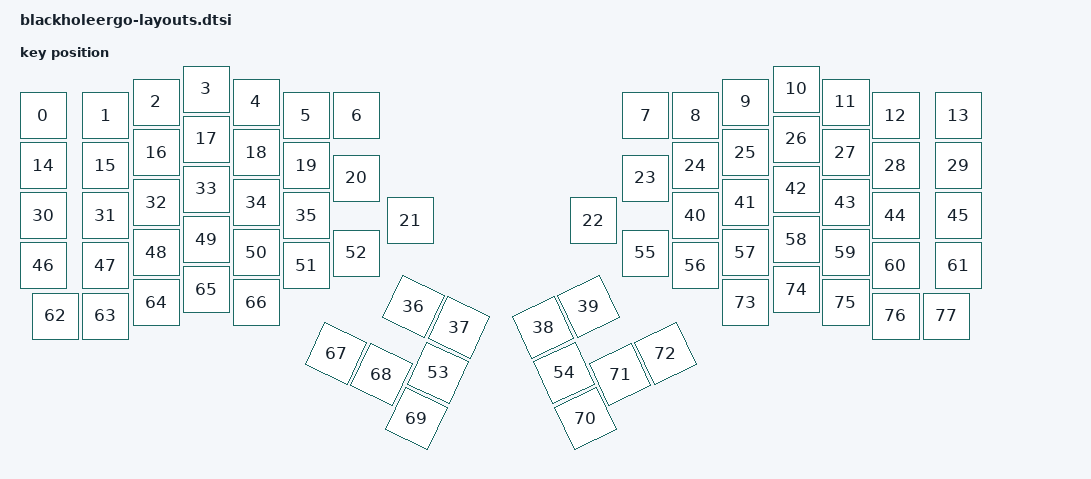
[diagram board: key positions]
// See https://zmk.dev/docs/development/hardware-integration/physical-layouts
// for how to configure this.

#include <physical_layouts.dtsi>

/ {
    default_layout: default_layout {
        compatible = "zmk,physical-layout";
        display-name = "Default Layout";
        kscan = <&kscan0>;
        transform = <&matrix_transform0>;

        keys  //                     w   h    x    y     rot    rx    ry
            = <&key_physical_attrs 100 100    0   53       0     0     0>
            , <&key_physical_attrs 100 100  125   53       0     0     0>
            , <&key_physical_attrs 100 100  226   26       0     0     0>
            , <&key_physical_attrs 100 100  326    0       0     0     0>
            , <&key_physical_attrs 100 100  426   26       0     0     0>
            , <&key_physical_attrs 100 100  526   53       0     0     0>
            , <&key_physical_attrs 100 100  627   53       0     0     0>
            , <&key_physical_attrs 100 100 1205   53       0     0     0>
            , <&key_physical_attrs 100 100 1305   53       0     0     0>
            , <&key_physical_attrs 100 100 1405   26       0     0     0>
            , <&key_physical_attrs 100 100 1506    0       0     0     0>
            , <&key_physical_attrs 100 100 1606   26       0     0     0>
            , <&key_physical_attrs 100 100 1706   53       0     0     0>
            , <&key_physical_attrs 100 100 1830   53       0     0     0>
            , <&key_physical_attrs 100 100    0  153       0     0     0>
            , <&key_physical_attrs 100 100  125  153       0     0     0>
            , <&key_physical_attrs 100 100  226  127       0     0     0>
            , <&key_physical_attrs 100 100  326  100       0     0     0>
            , <&key_physical_attrs 100 100  426  127       0     0     0>
            , <&key_physical_attrs 100 100  526  153       0     0     0>
            , <&key_physical_attrs 100 100  627  178       0     0     0>
            , <&key_physical_attrs 100 100  735  263       0     0     0>
            , <&key_physical_attrs 100 100 1100  263       0     0     0>
            , <&key_physical_attrs 100 100 1205  178       0     0     0>
            , <&key_physical_attrs 100 100 1305  153       0     0     0>
            , <&key_physical_attrs 100 100 1405  127       0     0     0>
            , <&key_physical_attrs 100 100 1506  100       0     0     0>
            , <&key_physical_attrs 100 100 1606  127       0     0     0>
            , <&key_physical_attrs 100 100 1706  153       0     0     0>
            , <&key_physical_attrs 100 100 1830  153       0     0     0>
            , <&key_physical_attrs 100 100    0  253       0     0     0>
            , <&key_physical_attrs 100 100  125  253       0     0     0>
            , <&key_physical_attrs 100 100  226  227       0     0     0>
            , <&key_physical_attrs 100 100  326  200       0     0     0>
            , <&key_physical_attrs 100 100  426  227       0     0     0>
            , <&key_physical_attrs 100 100  526  253       0     0     0>
            , <&key_physical_attrs 100 100  741  435    2500   791   485>
            , <&key_physical_attrs 100 100  832  477    2500   882   527>
            , <&key_physical_attrs 100 100 1000  477 (-2500)  1050   527>
            , <&key_physical_attrs 100 100 1091  435 (-2500)  1141   485>
            , <&key_physical_attrs 100 100 1305  253       0     0     0>
            , <&key_physical_attrs 100 100 1405  227       0     0     0>
            , <&key_physical_attrs 100 100 1506  200       0     0     0>
            , <&key_physical_attrs 100 100 1606  227       0     0     0>
            , <&key_physical_attrs 100 100 1706  253       0     0     0>
            , <&key_physical_attrs 100 100 1830  253       0     0     0>
            , <&key_physical_attrs 100 100    0  353       0     0     0>
            , <&key_physical_attrs 100 100  125  353       0     0     0>
            , <&key_physical_attrs 100 100  226  327       0     0     0>
            , <&key_physical_attrs 100 100  326  301       0     0     0>
            , <&key_physical_attrs 100 100  426  327       0     0     0>
            , <&key_physical_attrs 100 100  526  353       0     0     0>
            , <&key_physical_attrs 100 100  627  328       0     0     0>
            , <&key_physical_attrs 100 100  790  568    2500   840   618>
            , <&key_physical_attrs 100 100 1042  568 (-2500)  1092   618>
            , <&key_physical_attrs 100 100 1205  328       0     0     0>
            , <&key_physical_attrs 100 100 1305  353       0     0     0>
            , <&key_physical_attrs 100 100 1405  327       0     0     0>
            , <&key_physical_attrs 100 100 1506  301       0     0     0>
            , <&key_physical_attrs 100 100 1606  327       0     0     0>
            , <&key_physical_attrs 100 100 1706  353       0     0     0>
            , <&key_physical_attrs 100 100 1830  353       0     0     0>
            , <&key_physical_attrs 100 100   25  454       0     0     0>
            , <&key_physical_attrs 100 100  125  454       0     0     0>
            , <&key_physical_attrs 100 100  226  427       0     0     0>
            , <&key_physical_attrs 100 100  326  401       0     0     0>
            , <&key_physical_attrs 100 100  426  427       0     0     0>
            , <&key_physical_attrs 100 100  586  529    2500   636   579>
            , <&key_physical_attrs 100 100  677  571    2500   727   621>
            , <&key_physical_attrs 100 100  747  659    2500   797   709>
            , <&key_physical_attrs 100 100 1085  659 (-2500)  1135   709>
            , <&key_physical_attrs 100 100 1154  571 (-2500)  1204   621>
            , <&key_physical_attrs 100 100 1245  529 (-2500)  1295   579>
            , <&key_physical_attrs 100 100 1405  427       0     0     0>
            , <&key_physical_attrs 100 100 1506  401       0     0     0>
            , <&key_physical_attrs 100 100 1606  427       0     0     0>
            , <&key_physical_attrs 100 100 1706  454       0     0     0>
            , <&key_physical_attrs 100 100 1807  454       0     0     0>
            ;
    };
};
